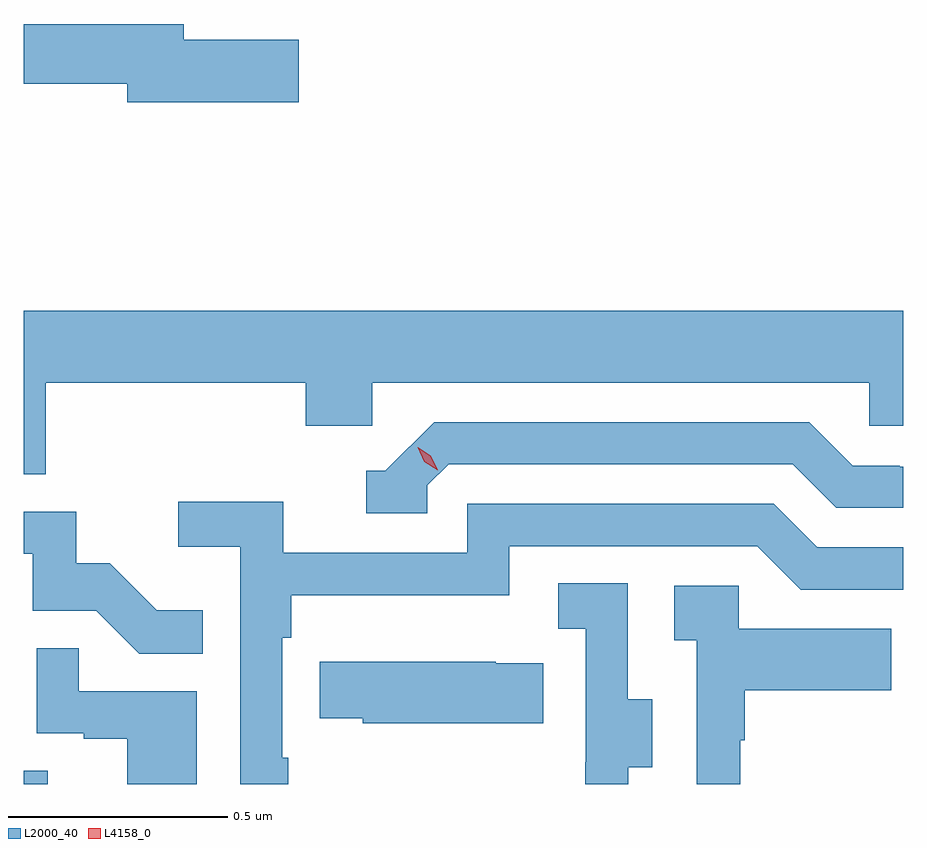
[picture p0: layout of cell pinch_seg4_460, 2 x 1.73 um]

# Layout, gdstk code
import gdstk
lib = gdstk.Library(unit=1e-6, precision=1e-09)
def R(c, l, rs):  # rectangles x0, y0, x1, y1
    for r in rs: c.add(gdstk.rectangle(r[:2], r[2:], *l))
def P(c, l, *ps):  # polygons
    for p in ps: c.add(gdstk.Polygon(p, *l))
L2000_40 = (2000, 40)
L4158_0 = (4158, 0)

pinch_seg4_460 = lib.new_cell('pinch_seg4_460')
R(pinch_seg4_460, L2000_40, [(906.144,771.932,906.199,771.962)])
P(pinch_seg4_460, L2000_40, [(906.769,773.624),(906.508,773.624),(906.508,773.66),(906.144,773.66),(906.144,773.524),(906.38,773.524),(906.38,773.482),(906.769,773.482)],
  [(906.194,772.844),(906.785,772.844),(906.785,772.746),(906.936,772.746),(906.936,772.844),(908.067,772.844),(908.067,772.746),(908.144,772.746),(908.144,773.008),(906.144,773.008),(906.144,772.636),(906.194,772.636)],
  [(907.062,772.611),(907.11,772.659),(907.893,772.659),(907.992,772.56),(908.144,772.56),(908.144,772.653),(908.136,772.653),(908.136,772.656),(908.029,772.656),(907.93,772.755),(907.077,772.755),(906.966,772.644),(906.923,772.644),(906.923,772.548),(907.062,772.548)],
  [(906.745,771.992),(906.732,771.992),(906.732,772.265),(906.752,772.265),(906.752,772.361),(907.248,772.361),(907.248,772.473),(907.812,772.473),(907.911,772.374),(908.144,772.374),(908.144,772.47),(907.948,772.47),(907.849,772.569),(907.152,772.569),(907.152,772.458),(906.734,772.458),(906.734,772.574),(906.495,772.574),(906.495,772.472),(906.636,772.472),(906.636,771.932),(906.745,771.932)],
  [(906.551,772.327),(906.447,772.327),(906.34,772.434),(906.264,772.434),(906.264,772.551),(906.144,772.551),(906.144,772.455),(906.165,772.455),(906.165,772.326),(906.309,772.326),(906.407,772.228),(906.551,772.228)],
  [(907.519,771.97),(907.573,771.97),(907.573,772.125),(907.518,772.125),(907.518,772.388),(907.359,772.388),(907.359,772.285),(907.422,772.285),(907.422,771.981),(907.421,771.981),(907.421,771.932),(907.519,771.932)],
  [(907.773,772.031),(907.783,772.031),(907.783,772.145),(908.117,772.145),(908.117,772.285),(907.77,772.285),(907.77,772.383),(907.623,772.383),(907.623,772.259),(907.674,772.259),(907.674,771.932),(907.773,771.932)],
  [(906.538,772.143),(906.269,772.143),(906.269,772.241),(906.174,772.241),(906.174,772.047),(906.281,772.047),(906.281,772.035),(906.38,772.035),(906.38,771.932),(906.538,771.932)],
  [(907.325,772.207),(907.217,772.207),(907.217,772.21),(906.817,772.21),(906.817,772.081),(906.915,772.081),(906.915,772.07),(907.325,772.07)])
P(pinch_seg4_460, L4158_0, [(907.085,772.645),(907.055,772.665),(907.04,772.698),(907.04,772.698),(907.04,772.698),(907.07,772.678),(907.086,772.645),(907.086,772.645)])

lib.write_gds('pinch_seg4_460.gds')
